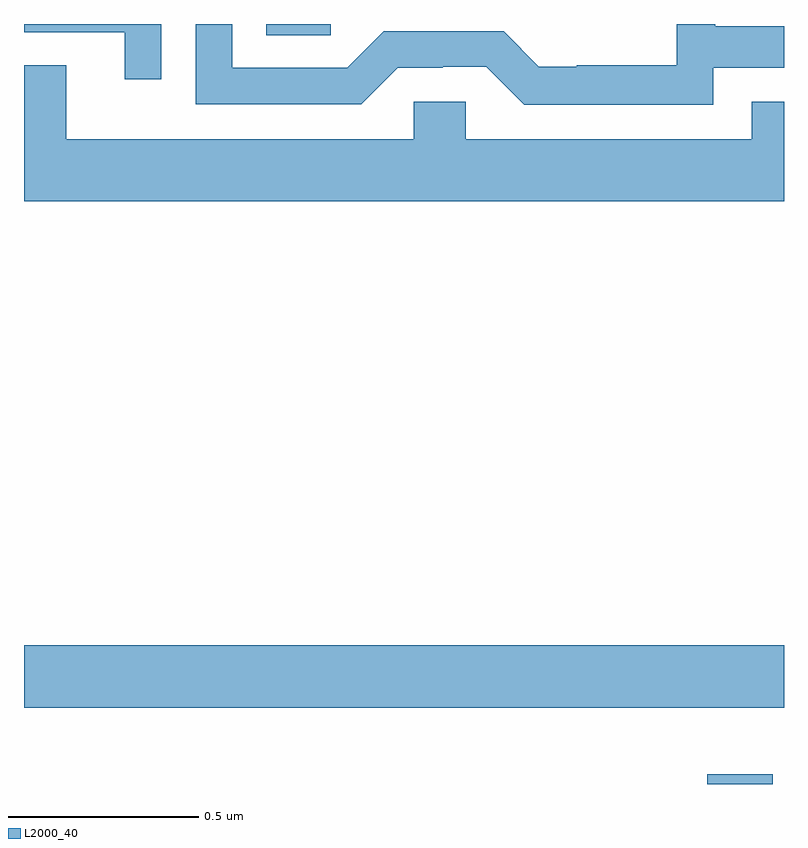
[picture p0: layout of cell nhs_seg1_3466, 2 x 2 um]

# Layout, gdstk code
import gdstk
lib = gdstk.Library(unit=1e-6, precision=1e-09)
def R(c, l, rs):  # rectangles x0, y0, x1, y1
    for r in rs: c.add(gdstk.rectangle(r[:2], r[2:], *l))
def P(c, l, *ps):  # polygons
    for p in ps: c.add(gdstk.Polygon(p, *l))
L2000_40 = (2000, 40)

nhs_seg1_3466 = lib.new_cell('nhs_seg1_3466')
R(nhs_seg1_3466, L2000_40, [(155.798,550.199,155.971,550.225), (154,550.4,156,550.564), (154.638,552.169,154.807,552.199)])
P(nhs_seg1_3466, L2000_40, [(155.814,552.084),(156,552.084),(156,552.193),(155.819,552.193),(155.819,552.199),(155.718,552.199),(155.718,552.091),(155.455,552.091),(155.455,552.087),(155.355,552.087),(155.262,552.18),(154.947,552.18),(154.851,552.084),(154.548,552.084),(154.548,552.199),(154.452,552.199),(154.452,551.988),(154.887,551.988),(154.983,552.084),(155.102,552.084),(155.102,552.087),(155.217,552.087),(155.317,551.987),(155.814,551.987)],
  [(154.361,552.199),(154,552.199),(154,552.177),(154.265,552.177),(154.265,552.054),(154.361,552.054)],
  [(156,551.995),(155.915,551.995),(155.915,551.896),(155.163,551.896),(155.163,551.994),(155.025,551.994),(155.025,551.896),(154.111,551.896),(154.111,552.091),(154,552.091),(154,551.732),(156,551.732)])

lib.write_gds('nhs_seg1_3466.gds')
